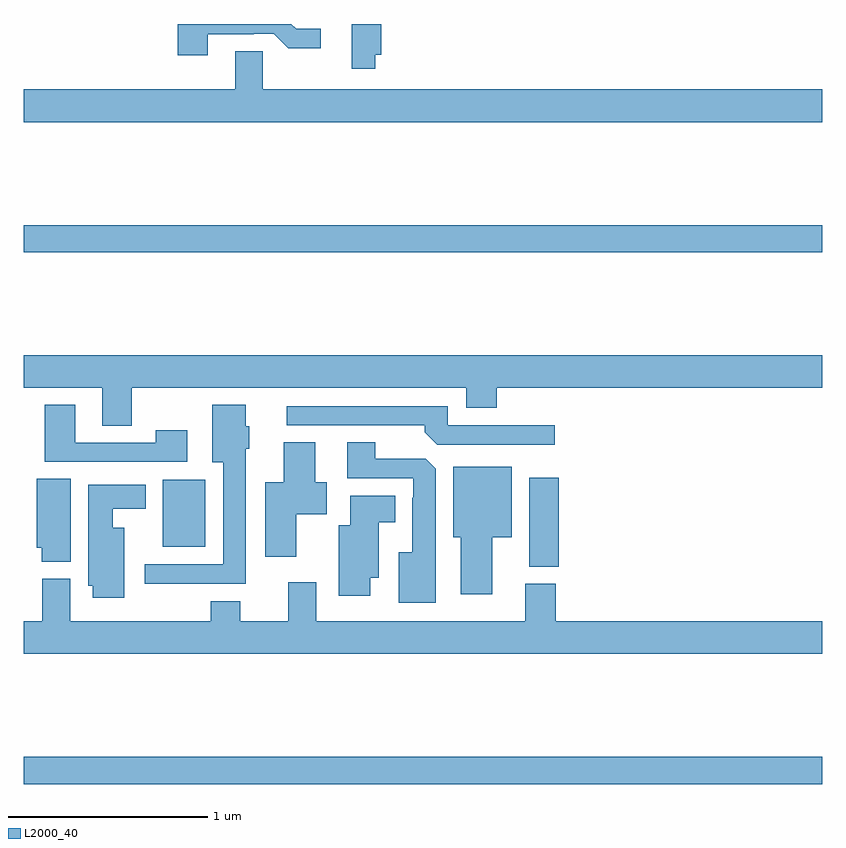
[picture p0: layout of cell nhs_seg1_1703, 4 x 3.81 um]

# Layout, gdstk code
import gdstk
lib = gdstk.Library(unit=1e-6, precision=1e-09)
def R(c, l, rs):  # rectangles x0, y0, x1, y1
    for r in rs: c.add(gdstk.rectangle(r[:2], r[2:], *l))
def P(c, l, *ps):  # polygons
    for p in ps: c.add(gdstk.Polygon(p, *l))
L2000_40 = (2000, 40)

nhs_seg1_1703 = lib.new_cell('nhs_seg1_1703')
R(nhs_seg1_1703, L2000_40, [(203,572.392,207,572.528), (205.532,573.481,205.679,573.925), (203.696,573.581,203.908,573.916), (203,575.056,207,575.192)])
P(nhs_seg1_1703, L2000_40, [(203.923,576.147),(204.152,576.147),(204.152,576.15),(204.252,576.15),(204.325,576.077),(204.487,576.077),(204.487,576.174),(204.366,576.174),(204.341,576.199),(203.771,576.199),(203.771,576.042),(203.923,576.042)],
  [(204.761,576.044),(204.791,576.044),(204.791,576.199),(204.645,576.199),(204.645,576.198),(204.644,576.198),(204.644,575.976),(204.761,575.976)],
  [(207,575.872),(204.198,575.872),(204.198,576.062),(204.059,576.062),(204.059,575.872),(203,575.872),(203,575.708),(207,575.708)],
  [(203.541,574.376),(205.217,574.376),(205.217,574.277),(205.37,574.277),(205.37,574.376),(207,574.376),(207,574.54),(203,574.54),(203,574.376),(203.393,574.376),(203.393,574.186),(203.541,574.186)],
  [(203.818,574.165),(203.662,574.165),(203.662,574.101),(203.257,574.101),(203.257,574.291),(203.105,574.291),(203.105,574.005),(203.818,574.005)],
  [(204.112,574.071),(204.13,574.071),(204.13,574.185),(204.112,574.185),(204.112,574.291),(203.945,574.291),(203.945,574.004),(203.999,574.004),(203.999,573.492),(203.607,573.492),(203.607,573.395),(204.112,573.395)],
  [(205.66,574.188),(205.125,574.188),(205.125,574.284),(204.318,574.284),(204.318,574.188),(205.01,574.188),(205.01,574.154),(205.071,574.092),(205.66,574.092)],
  [(204.364,573.742),(204.517,573.742),(204.517,573.904),(204.46,573.904),(204.46,574.103),(204.302,574.103),(204.302,573.904),(204.209,573.904),(204.209,573.531),(204.364,573.531)],
  [(205.063,573.971),(205.014,574.02),(204.76,574.02),(204.76,574.103),(204.62,574.103),(204.62,573.924),(204.951,573.924),(204.951,573.827),(204.947,573.827),(204.947,573.553),(204.878,573.553),(204.878,573.299),(205.063,573.299)],
  [(205.348,573.629),(205.444,573.629),(205.444,573.982),(205.151,573.982),(205.151,573.629),(205.19,573.629),(205.19,573.342),(205.348,573.342)],
  [(203.236,573.92),(203.066,573.92),(203.066,573.576),(203.09,573.576),(203.09,573.505),(203.236,573.505)],
  [(203.503,573.676),(203.446,573.676),(203.446,573.77),(203.611,573.77),(203.611,573.892),(203.324,573.892),(203.324,573.384),(203.345,573.384),(203.345,573.324),(203.503,573.324)],
  [(204.736,573.425),(204.778,573.425),(204.778,573.704),(204.862,573.704),(204.862,573.835),(204.635,573.835),(204.635,573.688),(204.578,573.688),(204.578,573.336),(204.736,573.336)],
  [(207,573.208),(205.664,573.208),(205.664,573.396),(205.511,573.396),(205.511,573.208),(204.466,573.208),(204.466,573.403),(204.326,573.403),(204.326,573.208),(204.085,573.208),(204.085,573.307),(203.938,573.307),(203.938,573.208),(203.233,573.208),(203.233,573.42),(203.093,573.42),(203.093,573.208),(203,573.208),(203,573.044),(207,573.044)])

lib.write_gds('nhs_seg1_1703.gds')
